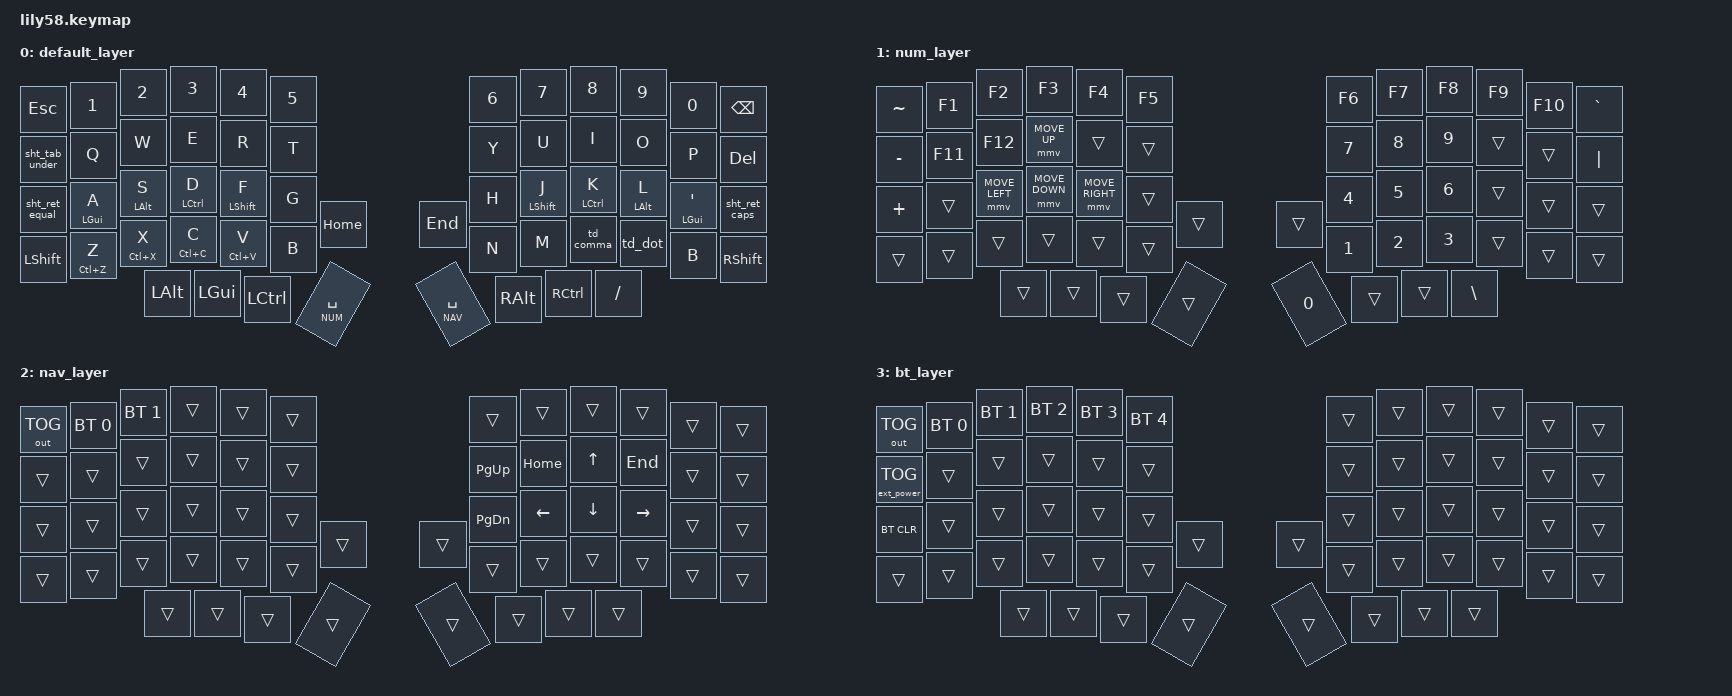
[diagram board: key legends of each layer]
/*
 * Copyright (c) 2020 The ZMK Contributors
 *
 * SPDX-License-Identifier: MIT
 */

#include <behaviors.dtsi>
#include <dt-bindings/zmk/keys.h>
#include <dt-bindings/zmk/bt.h>
#include <dt-bindings/zmk/outputs.h>
#include <dt-bindings/zmk/ext_power.h>
#include <dt-bindings/zmk/pointing.h>

#define ZMK_POINTING_DEFAULT_MOVE_VAL 900   // default: 600
#define ZMK_POINTING_DEFAULT_SCRL_VAL 20    // default: 10

#define BASE 0
#define NUM 1
#define NAV 2
#define BT 3

#define CB_TIMEOUT 70
#define TD_TIMEOUT 170
#define TIMEOUT 200

/{

// Activate ADJUST layer by pressing raise and lower
conditional_layers {
        compatible = "zmk,conditional-layers";
        adjust_layer {
            if-layers = <NUM NAV>;
            then-layer = <BT>;
        };
};

combos {
        compatible = "zmk,combos";

        combo_lpar {
            timeout-ms = <CB_TIMEOUT>;
            key-positions = <27 28>;   // d f
            bindings = <&kp LPAR>;     // (
            layers = <0>;
        };
        combo_lt {
            timeout-ms = <CB_TIMEOUT>;
            key-positions = <26 27>;   // s d
            bindings = <&kp LT>;     // <
            layers = <0>;
        };
        combo_lbkt {
            timeout-ms = <CB_TIMEOUT>;
            key-positions = <15 16>;   // e r
            bindings = <&kp LBKT>;     // [
            layers = <0>;
        };
        combo_lbrc {
            timeout-ms = <CB_TIMEOUT>;
            key-positions = <14 15>;   // w e
            bindings = <&kp LBRC>;     // {
            layers = <0>;
        };

        combo_rpar {
            timeout-ms = <CB_TIMEOUT>;
           key-positions = <31 32>;    // j k
            bindings = <&kp RPAR>;     // )
            layers = <0>;
        };
        combo_gt {
            timeout-ms = <CB_TIMEOUT>;
           key-positions = <32 33>;    // k l
            bindings = <&kp GT>;     // >
            layers = <0>;
        };
        combo_rbkt {
            timeout-ms = <CB_TIMEOUT>;
            key-positions = <19 20>;   // u i
            bindings = <&kp RBKT>;     // ]
            layers = <0>;
        };

        combo_rbrc {
            timeout-ms = <CB_TIMEOUT>;
            key-positions = <20 21>;   // i o
            bindings = <&kp RBRC>;     // }
            layers = <0>;
        };
};



/***********************************************************************************
behaviors {
        // 1. 극한의 탭댄스 정의
        super_tap_dance: super_tap_dance {
            compatible = "zmk,behavior-tap-dance";
            label = "SUPER_TAP_DANCE";
            #binding-cells = <0>;
            tapping-term-ms = <250>; // 탭 인식을 위한 대기 시간 (ms)
            bindings = 
                <&kp A>,              // 1번 탭: 'A' 입력
                <&td_hold_tap>,        // 2번 탭: 아래 정의한 커스텀 홀드-탭 발동!
                <&macro_screenshot>;   // 3번 탭: 화면 캡처 매크로 실행
        };

        // 2. 탭댄스 내부에 들어갈 홀드-탭(Hold-Tap) 정의
        td_hold_tap: td_hold_tap {
            compatible = "zmk,behavior-hold-tap";
            label = "TD_HOLD_TAP";
            #binding-cells = <2>;
            flavor = "tap-preferred"; // 탭을 조금 더 우선시하는 성향
            tapping-term-ms = <200>;
            bindings = <&mo 1>, <&kp B>; // 누르고 있으면 1번 레이어, 떼면 'B' 입력
        };
    };
***********************************************************************************/


behaviors {
        // 1. Alt 체크 Mod-Morph: Alt가 눌려있으면 [, 안 눌려있으면 기본 ,
        morph_alt_comma: morph_alt_comma {
            compatible = "zmk,behavior-mod-morph";
            #binding-cells = <0>;
            bindings = <&kp COMMA>, <&kp LBKT>;
            mods = <(MOD_LALT|MOD_RALT)>;
            keep-mods = <0>;
        };

        // 2. Ctrl 체크 Mod-Morph: Ctrl이 눌려있으면 (, 안 눌려있으면 morph_alt_comma 실행
        morph_ctrl_comma: comma_morph {
            compatible = "zmk,behavior-mod-morph";
            #binding-cells = <0>;
            bindings = <&morph_alt_comma>, <&kp LPAR>;
            mods = <(MOD_LCTL|MOD_RCTL)>;
            keep-mods = <0>;
        };

        // 3. Tap-Dance: 1번 누르면 morph_ctrl_comma(Ctrl/Alt 체인), 2번 누르면 ;
        td_comma: tap_dance_comma {
            compatible = "zmk,behavior-tap-dance";
            #binding-cells = <0>;
            tapping-term-ms = <TD_TIMEOUT>;
            bindings = <&morph_ctrl_comma>, <&kp SEMI>;
        };

        // 1. Alt 체크 Mod-Morph: Alt가 눌려있으면 ], 안 눌려있으면 기본 ,
        morph_alt_dot: morph_alt_dot {
            compatible = "zmk,behavior-mod-morph";
            #binding-cells = <0>;
            bindings = <&kp DOT>, <&kp RBKT>;
            mods = <(MOD_LALT|MOD_RALT)>;
            keep-mods = <0>;
        };

        // 2. Ctrl 체크 Mod-Morph: Ctrl이 눌려있으면 ), 안 눌려있으면 morph_alt_dot 실행
        morph_ctrl_dot: comma_dot {
            compatible = "zmk,behavior-mod-morph";
            #binding-cells = <0>;
            bindings = <&morph_alt_dot>, <&kp RPAR>;
            mods = <(MOD_LCTL|MOD_RCTL)>;
        };

        // 3. Tap-Dance: 1번 누르면 morph_ctrl_dot(Ctrl/Alt 체인), 2번 누르면 ;
        td_dot: tap_dance_dot {
            compatible = "zmk,behavior-tap-dance";
            #binding-cells = <0>;
            tapping-term-ms = <TD_TIMEOUT>;
            bindings = <&morph_ctrl_dot>, <&kp COLON>;
        };

        sht_tab_under: morph_sht_tab_under {
            compatible = "zmk,behavior-mod-morph";
            #binding-cells = <0>;
            bindings = <&kp TAB>, <&kp UNDER>;
            mods = <(MOD_LSFT|MOD_RSFT)>;
            keep-mods = <0>;
        };
        sht_ret_equal: morph_sht_ret_equal {
            compatible = "zmk,behavior-mod-morph";
            #binding-cells = <0>;
            bindings = <&kp RET>, <&kp EQUAL>;
            mods = <(MOD_LSFT|MOD_RSFT)>;
            keep-mods = <0>;
        };
        sht_ret_caps: morph_sht_ret_caps {
            compatible = "zmk,behavior-mod-morph";
            #binding-cells = <0>;
            bindings = <&kp RET>, <&kp CAPS>;
            mods = <(MOD_LSFT|MOD_RSFT)>;
            keep-mods = <0>;
        };

        morph_alt_o: morph_alt_o {
            compatible = "zmk,behavior-mod-morph";
            #binding-cells = <0>;
            bindings = <&kp O>, <&kp LBRC>;
            mods = <(MOD_LALT|MOD_RALT)>;
            keep-mods = <0>;
        };

        morph_alt_p: morph_alt_p {
            compatible = "zmk,behavior-mod-morph";
            #binding-cells = <0>;
            bindings = <&kp P>, <&kp RBRC>;
            mods = <(MOD_LALT|MOD_RALT)>;
            keep-mods = <0>;
        };
/*
        td_fslh: tap_dance_fslh {
            compatible = "zmk,behavior-tap-dance";
            #binding-cells = <0>;
            tapping-term-ms = <TD_TIMEOUT>;
            bindings = <&kp FSLH>, <&kp CAPS>;
        };
*/

        mt: mod_tap {
            compatible = "zmk,behavior-hold-tap";
            #binding-cells = <2>;
            flavor = "tap-preferred";
            tapping-term-ms = <TIMEOUT>;
            bindings = <&kp>, <&kp>;
            display-name = "Mod-Tap";
        };

        lt: layer_tap {
            compatible = "zmk,behavior-hold-tap";
            #binding-cells = <2>;
            flavor = "tap-preferred";
            tapping-term-ms = <TIMEOUT>;                // 200
            bindings = <&mo>, <&kp>;
            display-name = "Layer-Tap";
        };

        hm: homerow_mods {
            compatible = "zmk,behavior-hold-tap";
            #binding-cells = <2>;
            flavor = "tap-preferred";
            quick-tap-ms = <CB_TIMEOUT>;                // 100
            require-prior-idle-ms = <TD_TIMEOUT>;       // 170
            tapping-term-ms = <TIMEOUT>;                // 200
            bindings = <&kp>, <&kp>;
        };
};

keymap {
        compatible = "zmk,keymap";

        default_layer {
                bindings = <
// ╭──────00──────┬─────01─────┬─────02─────┬─────03─────┬─────04─────┬─────05─────┬────────────╮        ╭────────────┬─────06─────┬─────07─────┬─────08─────┬─────09─────┬─────10─────┬─────11─────╮
     &kp ESC        &kp N1       &kp N2       &kp N3       &kp N4       &kp N5                                          &kp N6       &kp N7       &kp N8       &kp N9       &kp N0       &kp BSPC
// ├──────12──────┼─────13─────┼─────14─────┼─────15─────┼─────16─────┼─────17─────┼────────────┤        ├────────────┼─────18─────┼─────19─────┼─────20─────┼─────21─────┼─────22─────┼─────23─────┤
     &sht_tab_under  &kp Q       &kp W        &kp E        &kp R        &kp T                                           &kp Y        &kp U        &kp I        &kp O        &kp P        &kp DEL
// ├──────24──────┼─────25─────┼─────26─────┼─────27─────┼─────28─────┼─────29─────┼────────────┤        ├────────────┼─────30─────┼─────31─────┼─────32─────┼─────33─────┼─────34─────┼─────35─────┤
     &sht_ret_equal &hm LGUI A   &hm LALT S   &hm LCTRL D  &hm LSHFT F  &kp G                                           &kp H        &hm LSHFT J  &hm LCTRL K  &hm LALT L   &hm LGUI SQT &sht_ret_caps
// ├──────36──────┼─────37─────┼─────38─────┼─────39─────┼─────40─────┼─────41─────┼─────42─────┤        ├─────43─────┼─────44─────┼─────45─────┼─────46─────┼─────47─────┼─────48─────┼─────49─────┤
     &kp LSHFT      &mt LC(Z) Z &mt LC(X) X   &mt LC(C) C &mt LC(V) V   &kp B        &kp HOME              &kp END      &kp N        &kp M        &td_comma    &td_dot      &kp B        &kp RSHFT
// ├──────────────┼────────────┼────────────┼─────50─────┼─────51─────┼─────52─────┼─────53─────┤        ├─────54─────┼─────55─────┼─────56─────┼─────57─────┼────────────┼────────────┼────────────┤
                                              &kp LALT     &kp LGUI     &kp LCTRL   &lt NUM SPACE         &lt NAV SPACE &kp RALT     &kp RCTRL    &kp FSLH
// ╰──────────────┴────────────┴────────────┴────────────┴────────────┴────────────┴────────────╯        ╰────────────┴────────────┴────────────┴────────────┴────────────┴────────────┴────────────╯       

//   &sht_ret_equal &kp A        &kp S        &kp D        &kp F        &kp G                                           &kp H        &kp J        &kp K        &kp L        &kp SQT      &sht_ret_caps

                >;
        };

        num_layer {
            bindings = <
// ╭─────────────┬─────────────┬──────────────┬──────────────┬──────────────┬─────────────┬─────────────╮        ╭─────────────┬─────────────┬─────────────┬─────────────┬─────────────┬─────────────┬─────────────╮
     &kp TILDE     &kp F1        &kp F2         &kp F3         &kp F4         &kp F5                                             &kp F6        &kp F7        &kp F8        &kp F9        &kp F10       &kp GRAVE
// ├─────────────┼─────────────┼──────────────┼──────────────┼──────────────┼─────────────┼─────────────┤        ├─────────────┼─────────────┼─────────────┼─────────────┼─────────────┼─────────────┼─────────────┤
     &kp MINUS     &kp F11       &kp F12        &mmv MOVE_UP   &trans         &trans                                             &kp N7        &kp N8        &kp N9        &trans        &trans        &kp PIPE
// ├─────────────┼─────────────┼──────────────┼──────────────┼──────────────┼─────────────┼─────────────┤        ├─────────────┼─────────────┼─────────────┼─────────────┼─────────────┼─────────────┼─────────────┤
     &kp PLUS      &trans       &mmv MOVE_LEFT &mmv MOVE_DOWN &mmv MOVE_RIGHT &trans                                             &kp N4        &kp N5        &kp N6        &trans        &trans        &trans
// ├─────────────┼─────────────┼──────────────┼──────────────┼──────────────┼─────────────┼─────────────┤        ├─────────────┼─────────────┼─────────────┼─────────────┼─────────────┼─────────────┼─────────────┤
     &trans        &trans        &trans         &trans         &trans         &trans        &trans                 &trans        &kp N1        &kp N2        &kp N3        &trans        &trans        &trans
// ├─────────────┼─────────────┼──────────────┼──────────────┼──────────────┼─────────────┼─────────────┤        ├─────────────┼─────────────┼─────────────┼─────────────┼─────────────┼─────────────┼─────────────┤
                                                &trans         &trans         &trans        &trans                 &kp N0        &trans        &trans        &kp BSLH
// ╰─────────────┴─────────────┴──────────────┴──────────────┴──────────────┴─────────────┴─────────────╯        ╰─────────────┴─────────────┴─────────────┴─────────────┴─────────────┴─────────────┴─────────────╯

//   &kp MINUS     &kp F11       &kp F12        &trans         &trans         &trans                                             &kp N7        &kp N8        &kp N9        &trans        &trans        &kp PIPE
//   &kp PLUS      &trans        &trans         &trans         &trans         &trans                                             &kp N4        &kp N5        &kp N6        &trans        &trans        &trans

                >;
        };

        nav_layer {
            bindings = <
// ╭─────────────┬─────────────┬─────────────┬─────────────┬─────────────┬─────────────┬─────────────╮        ╭─────────────┬─────────────┬─────────────┬─────────────┬─────────────┬─────────────┬─────────────╮
     &out OUT_TOG  &bt BT_SEL 0  &bt BT_SEL 1  &trans        &trans        &trans                                             &trans        &trans        &trans        &trans        &trans        &trans
// ├─────────────┼─────────────┼─────────────┼─────────────┼─────────────┼─────────────┼─────────────┤        ├─────────────┼─────────────┼─────────────┼─────────────┼─────────────┼─────────────┼─────────────┤
     &trans        &trans        &trans        &trans        &trans        &trans                                             &kp PG_UP     &kp HOME      &kp UP        &kp END       &trans        &trans
// ├─────────────┼─────────────┼─────────────┼─────────────┼─────────────┼─────────────┼─────────────┤        ├─────────────┼─────────────┼─────────────┼─────────────┼─────────────┼─────────────┼─────────────┤
     &trans        &trans        &trans        &trans        &trans        &trans                                             &kp PG_DN     &kp LEFT      &kp DOWN      &kp RIGHT     &trans        &trans
// ├─────────────┼─────────────┼─────────────┼─────────────┼─────────────┼─────────────┼─────────────┤        ├─────────────┼─────────────┼─────────────┼─────────────┼─────────────┼─────────────┼─────────────┤
     &trans        &trans        &trans        &trans        &trans        &trans        &trans                 &trans        &trans        &trans        &trans        &trans        &trans        &trans
// ├─────────────┼─────────────┼─────────────┼─────────────┼─────────────┼─────────────┼─────────────┤        ├─────────────┼─────────────┼─────────────┼─────────────┼─────────────┼─────────────┼─────────────┤
                                               &trans        &trans        &trans        &trans                 &trans        &trans        &trans        &trans
// ╰─────────────┴─────────────┴─────────────┴─────────────┴─────────────┴─────────────┴─────────────╯        ╰─────────────┴─────────────┴─────────────┴─────────────┴─────────────┴─────────────┴─────────────╯

//   &trans        &trans        &trans        &msc SCRL_UP  &trans        &trans                                             &kp PG_UP     &kp HOME      &kp UP        &kp END       &trans        &trans
//   &trans        &trans        &msc SCRL_LEFT &msc SCRL_DOWN &msc SCRL_RIGHT &trans                                         &kp PG_DN     &kp LEFT      &kp DOWN      &kp RIGHT     &trans        &trans

                >;
        };

        bt_layer {
            bindings = <
// ╭─────────────┬─────────────┬─────────────┬─────────────┬─────────────┬─────────────┬─────────────╮        ╭─────────────┬─────────────┬─────────────┬─────────────┬─────────────┬─────────────┬─────────────╮
    &out OUT_TOG   &bt BT_SEL 0  &bt BT_SEL 1  &bt BT_SEL 2  &bt BT_SEL 3  &bt BT_SEL 4                                        &trans        &trans        &trans        &trans        &trans        &trans
// ├─────────────┼─────────────┼─────────────┼─────────────┼─────────────┼─────────────┼─────────────┤        ├─────────────┼─────────────┼─────────────┼─────────────┼─────────────┼─────────────┼─────────────┤
 &ext_power EP_TOG &trans        &trans        &trans        &trans        &trans                                              &trans        &trans        &trans        &trans        &trans        &trans
// ├─────────────┼─────────────┼─────────────┼─────────────┼─────────────┼─────────────┼─────────────┤        ├─────────────┼─────────────┼─────────────┼─────────────┼─────────────┼─────────────┼─────────────┤
     &bt BT_CLR    &trans        &trans        &trans        &trans        &trans                                              &trans        &trans        &trans        &trans        &trans        &trans
// ├─────────────┼─────────────┼─────────────┼─────────────┼─────────────┼─────────────┼─────────────┤        ├─────────────┼─────────────┼─────────────┼─────────────┼─────────────┼─────────────┼─────────────┤
     &trans        &trans        &trans        &trans        &trans        &trans        &trans                 &trans         &trans        &trans        &trans        &trans        &trans        &trans
// ├─────────────┼─────────────┼─────────────┼─────────────┼─────────────┼─────────────┼─────────────┤        ├─────────────┼─────────────┼─────────────┼─────────────┼─────────────┼─────────────┼─────────────┤
                                               &trans        &trans        &trans        &trans                 &trans         &trans        &trans        &trans
// ╰─────────────┴─────────────┴─────────────┴─────────────┴─────────────┴─────────────┴─────────────╯        ╰─────────────┴─────────────┴─────────────┴─────────────┴─────────────┴─────────────┴─────────────╯
            >;
        };
    };
};
